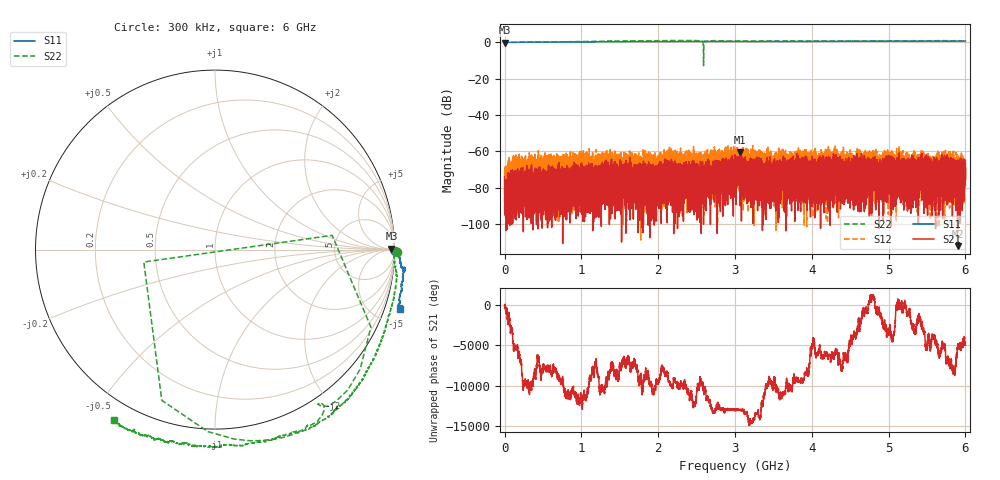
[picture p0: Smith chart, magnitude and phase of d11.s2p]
!Agilent Technologies,N5230C,SG49000117,A.08.50.07
!Agilent N5230C: A.08.50.07
!Date: Thursday, May 16, 2024 19:24:44
!Correction: S11(Full 2 Port(1,2))
!S21(Full 2 Port(1,2))
!S12(Full 2 Port(1,2))
!S22(Full 2 Port(1,2))
!S2P File: Measurements: S11, S21, S12, S22:
# Hz S  MA  R 50
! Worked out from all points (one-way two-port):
!   20001 points, 300 kHz to 6 GHz, reference 50 ohm
!   highest |S21| = -60.44 dB at 3.067 GHz (marker M1); lowest = -112.3 dB at 5.899 GHz (marker M2)
!   lowest |S11| = -0.1 dB at 600 kHz (marker M3), VSWR 115.90, Z = 5.21e+03 + j1.74e+03 ohm
!   |S11| at or under -10 dB: nowhere
!   |S22| runs from -12.8 to 1.1 dB; largest |S21 - S12| = 0.0018
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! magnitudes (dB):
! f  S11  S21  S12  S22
! 300 kHz  0.0  -74.2  -92.8  0.1
! 600 kHz  -0.1  -83.7  -72.1  -0.3
! 121.2 MHz  0.0  -74.9  -69.5  0.0
! 476.7 MHz  0.2  -81.7  -72.0  0.3
! 1 GHz  0.3  -66.2  -65.6  0.5
! 1.175 GHz  0.3  -84.5  -69.4  0.6
! 1.33 GHz  0.3  -74.2  -67.0  0.7
! 2 GHz  0.5  -71.2  -65.0  1.0
! 2.151 GHz  0.5  -67.7  -63.4  1.0
! 2.26 GHz  0.5  -69.4  -70.5  1.0
! 2.573 GHz  0.5  -74.4  -83.6  0.7
! 3 GHz  0.5  -67.6  -58.9  0.9
! 3.067 GHz  0.5  -60.4  -64.1  0.9
! 3.374 GHz  0.5  -73.8  -66.5  0.8
! 3.495 GHz  0.5  -72.5  -74.8  0.8
! 3.633 GHz  0.5  -67.1  -65.4  0.8
! 3.702 GHz  0.5  -72.1  -72.0  0.8
! 3.826 GHz  0.5  -69.9  -67.0  0.8
! 4 GHz  0.5  -62.8  -70.5  0.8
! 5 GHz  0.7  -72.9  -60.4  0.9
! 5.899 GHz  0.7  -112.3  -68.8  0.9
! 6 GHz  0.7  -75.2  -69.0  0.9
